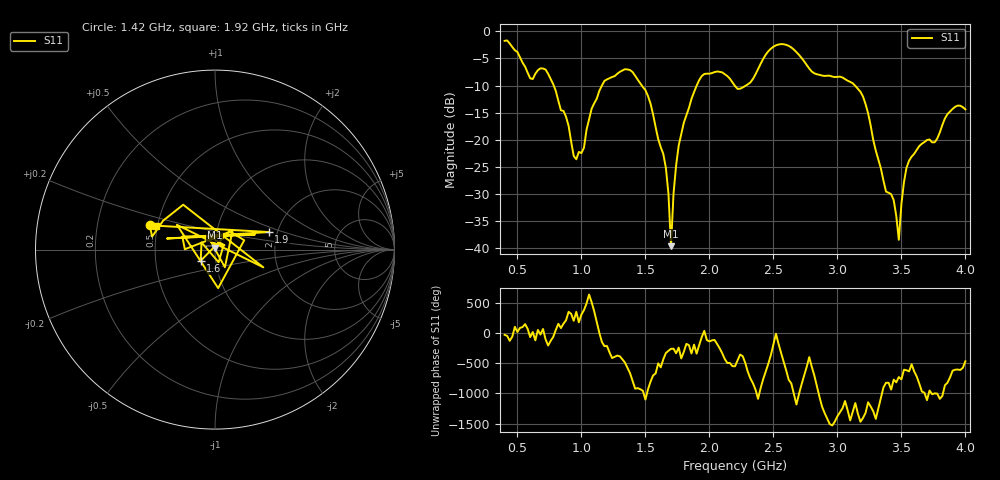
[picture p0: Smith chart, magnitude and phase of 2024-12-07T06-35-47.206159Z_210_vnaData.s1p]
!Created with skrf (http://scikit-rf.org).
# Hz S RI R 50.0
!freq ReS11 ImS11
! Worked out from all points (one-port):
!   181 points, 400 MHz to 4 GHz, reference 50 ohm
!   lowest |S11| = -39.7 dB at 1.7 GHz (marker M1), VSWR 1.02, Z = 49.9 + j1.03 ohm
!   |S11| at or under -10 dB: 783.8 MHz to 1.16 GHz (376.6 MHz wide, 38.7 % of centre); 1.472 GHz to 1.901 GHz (429 MHz wide, 25.4 % of centre); 3.137 GHz to end of sweep (the widest 3 of 4)
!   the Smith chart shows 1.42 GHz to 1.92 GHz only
!   S11 on the Smith chart (normalised r, x): 1.42 GHz: 0.45, +0.15; 1.6 GHz: 0.85, -0.11; 1.9 GHz: 1.80, +0.39; 1.92 GHz: 0.49, +0.15
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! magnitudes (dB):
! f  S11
! 400 MHz  -1.8
! 600 MHz  -8.7
! 720 MHz  -7.1
! 860 MHz  -14.7
! 960 MHz  -23.6
! 1.16 GHz  -10.0
! 1.3 GHz  -7.5
! 1.42 GHz  -8.2
! 1.52 GHz  -11.9
! 1.6 GHz  -19.9
! 1.66 GHz  -25.2
! 1.68 GHz  -29.9
! 1.7 GHz  -39.7
! 1.72 GHz  -29.9
! 1.76 GHz  -21.1
! 1.9 GHz  -10.0
! 1.92 GHz  -9.0
! 2.2 GHz  -10.1
! 2.5 GHz  -2.8
! 2.66 GHz  -3.4
! 3.1 GHz  -9.3
! 3.22 GHz  -13.4
! 3.38 GHz  -29.6
! 3.44 GHz  -31.2
! 3.48 GHz  -38.5
! 3.52 GHz  -27.8
! 3.56 GHz  -23.9
! 4 GHz  -14.4
